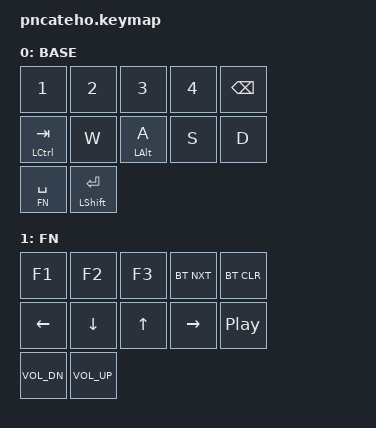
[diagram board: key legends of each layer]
/*
 * PNCATEHO left-only (12 keys): 2 rows x 5 + 2 thumbs
 *
 * Порядок позиций в bindings:
 *   k00 k01 k02 k03 k04
 *   k10 k11 k12 k13 k14
 *   t0  t1
 *
 * BASE:
 *   1 2 3 4 Backspace
 *   Tab/Ctrl  W  A/Alt  S  D
 *   Space/Fn  Enter/Shift
 *
 * FN:
 *   F1 F2 F3 BT_NXT BT_CLR
 *   Left Down Up Right Play/Pause
 *   Vol-  Vol+
 */

#include <behaviors.dtsi>
#include <dt-bindings/zmk/bt.h>
#include <dt-bindings/zmk/keys.h>
#include <dt-bindings/zmk/outputs.h>
#include <dt-bindings/zmk/ext_power.h>

// CONFIG (можно оставить, даже если сейчас не используешь)
#define COMBO_TIMEOUT 70
#define COMBO_LAYERS 0
#define STICKY_TIMEOUT 500

#define BASE 0
#define FN   1

&sk {
    release-after-ms = <STICKY_TIMEOUT>;
    quick-release;
};

/ {
  /* Узел combos оставляем пустым, без include "chords.dtsi",
   * чтобы не ломать сборку, пока комбо не нужны.
   */
  combos {
    compatible = "zmk,combos";
  };

  keymap {
    compatible = "zmk,keymap";

    base_layer {
      label = "BASE";
      bindings = <
        &kp N1            &kp N2      &kp N3       &kp N4        &kp BSPC
        &mt LCTRL TAB     &kp W       &mt LALT A   &kp S         &kp D
        &lt FN SPACE      &mt LSHIFT RET
      >;
    };

    fn_layer {
      label = "FN";
      bindings = <
        &kp F1            &kp F2        &kp F3         &bt BT_NXT     &bt BT_CLR
        &kp LEFT          &kp DOWN      &kp UP         &kp RIGHT      &kp C_PLAY_PAUSE
        &kp C_VOL_DN      &kp C_VOL_UP
      >;
    };
  };
};
